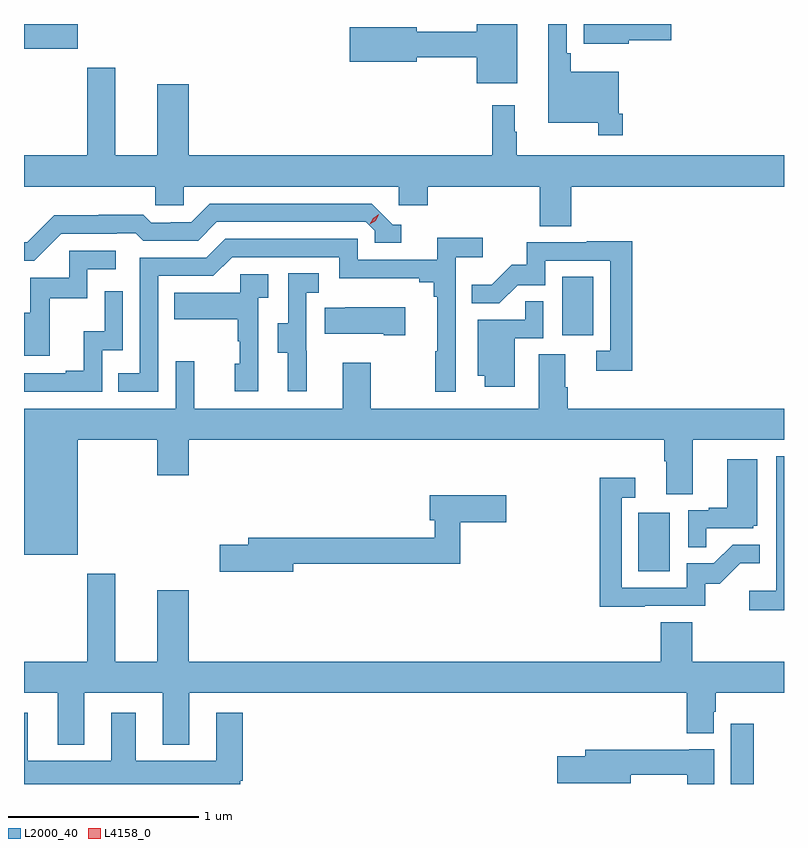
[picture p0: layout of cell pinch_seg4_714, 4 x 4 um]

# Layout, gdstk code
import gdstk
lib = gdstk.Library(unit=1e-6, precision=1e-09)
def R(c, l, rs):  # rectangles x0, y0, x1, y1
    for r in rs: c.add(gdstk.rectangle(r[:2], r[2:], *l))
def P(c, l, *ps):  # polygons
    for p in ps: c.add(gdstk.Polygon(p, *l))
L2000_40 = (2000, 40)
L4158_0 = (4158, 0)

pinch_seg4_714 = lib.new_cell('pinch_seg4_714')
R(pinch_seg4_714, L2000_40, [(839.354,822.98,839.476,823.297), (838.868,824.1,839.032,824.407), (838.466,825.342,838.63,825.649), (835.634,826.85,835.918,826.98)])
P(pinch_seg4_714, L2000_40, [(838.231,826.98),(838.016,826.98),(838.016,826.94),(837.7,826.94),(837.7,826.964),(837.348,826.964),(837.348,826.781),(837.7,826.781),(837.7,826.804),(838.016,826.804),(838.016,826.667),(838.231,826.667)],
  [(838.784,826.507),(838.764,826.507),(838.764,826.729),(838.511,826.729),(838.511,826.825),(838.491,826.825),(838.491,826.98),(838.394,826.98),(838.394,826.46),(838.656,826.46),(838.656,826.395),(838.784,826.395)],
  [(838.816,826.895),(839.041,826.895),(839.041,826.98),(838.58,826.98),(838.58,826.877),(838.816,826.877)],
  [(838.514,826.124),(839.634,826.124),(839.634,826.288),(838.228,826.288),(838.228,826.412),(838.216,826.412),(838.216,826.552),(838.099,826.552),(838.099,826.288),(836.5,826.288),(836.5,826.663),(836.336,826.663),(836.336,826.288),(836.113,826.288),(836.113,826.75),(835.966,826.75),(835.966,826.288),(835.634,826.288),(835.634,826.124),(836.325,826.124),(836.325,826.026),(836.475,826.026),(836.475,826.124),(837.606,826.124),(837.606,826.026),(837.758,826.026),(837.758,826.124),(838.349,826.124),(838.349,825.916),(838.514,825.916)],
  [(835.83,825.876),(836.123,825.876),(836.123,825.879),(836.222,825.879),(836.261,825.84),(836.55,825.84),(836.649,825.939),(837.432,825.939),(837.48,825.891),(837.48,825.828),(837.619,825.828),(837.619,825.924),(837.576,825.924),(837.465,826.035),(836.612,826.035),(836.513,825.936),(836.406,825.936),(836.406,825.933),(836.303,825.933),(836.261,825.976),(836.028,825.976),(836.028,825.973),(835.792,825.973),(835.65,825.831),(835.634,825.831),(835.634,825.735),(835.689,825.735)],
  [(836.34,825.654),(836.631,825.654),(836.73,825.753),(837.294,825.753),(837.294,825.641),(837.713,825.641),(837.713,825.622),(837.79,825.622),(837.79,825.545),(837.809,825.545),(837.809,825.257),(837.798,825.257),(837.798,825.045),(837.906,825.045),(837.906,825.752),(838.048,825.752),(838.048,825.854),(837.809,825.854),(837.809,825.738),(837.39,825.738),(837.39,825.849),(836.693,825.849),(836.594,825.75),(836.244,825.75),(836.244,825.141),(836.131,825.141),(836.131,825.045),(836.34,825.045)],
  [(838.835,825.836),(838.597,825.836),(838.597,825.831),(838.279,825.831),(838.279,825.714),(838.202,825.714),(838.095,825.607),(837.991,825.607),(837.991,825.509),(838.135,825.509),(838.232,825.606),(838.377,825.606),(838.377,825.735),(838.719,825.735),(838.719,825.261),(838.647,825.261),(838.647,825.156),(838.835,825.156)],
  [(835.769,825.537),(835.968,825.537),(835.968,825.69),(836.116,825.69),(836.116,825.786),(835.872,825.786),(835.872,825.645),(835.667,825.645),(835.667,825.459),(835.634,825.459),(835.634,825.234),(835.769,825.234)],
  [(837.122,825.261),(837.12,825.261),(837.12,825.565),(837.184,825.565),(837.184,825.668),(837.024,825.668),(837.024,825.405),(836.969,825.405),(836.969,825.25),(837.023,825.25),(837.023,825.048),(837.122,825.048)],
  [(836.868,825.539),(836.92,825.539),(836.92,825.663),(836.772,825.663),(836.772,825.565),(836.425,825.565),(836.425,825.425),(836.76,825.425),(836.76,825.311),(836.77,825.311),(836.77,825.192),(836.744,825.192),(836.744,825.048),(836.868,825.048)],
  [(836.046,825.264),(836.154,825.264),(836.154,825.574),(836.058,825.574),(836.058,825.362),(835.949,825.362),(835.949,825.154),(835.853,825.154),(835.853,825.141),(835.634,825.141),(835.634,825.045),(836.046,825.045)],
  [(838.216,825.327),(838.368,825.327),(838.368,825.521),(838.273,825.521),(838.273,825.423),(838.022,825.423),(838.022,825.128),(838.058,825.128),(838.058,825.072),(838.216,825.072)],
  [(837.64,825.49),(837.325,825.49),(837.325,825.487),(837.217,825.487),(837.217,825.35),(837.527,825.35),(837.527,825.343),(837.64,825.343)],
  [(835.918,824.792),(836.336,824.792),(836.336,824.604),(836.5,824.604),(836.5,824.792),(839.003,824.792),(839.003,824.68),(839.015,824.68),(839.015,824.506),(839.155,824.506),(839.155,824.792),(839.634,824.792),(839.634,824.956),(838.496,824.956),(838.496,825.068),(838.483,825.068),(838.483,825.242),(838.343,825.242),(838.343,824.956),(837.459,824.956),(837.459,825.196),(837.311,825.196),(837.311,824.956),(836.531,824.956),(836.531,825.205),(836.433,825.205),(836.433,824.956),(835.634,824.956),(835.634,824.186),(835.918,824.186)],
  [(839.634,824.704),(839.592,824.704),(839.592,823.996),(839.451,823.996),(839.451,823.894),(839.634,823.894)],
  [(839.225,824.325),(839.472,824.325),(839.472,824.34),(839.494,824.34),(839.494,824.689),(839.336,824.689),(839.336,824.434),(839.237,824.434),(839.237,824.421),(839.13,824.421),(839.13,824.227),(839.225,824.227)],
  [(838.901,823.917),(839.22,823.917),(839.22,824.034),(839.296,824.034),(839.403,824.141),(839.507,824.141),(839.507,824.24),(839.363,824.24),(839.265,824.142),(839.121,824.142),(839.121,824.013),(838.779,824.013),(838.779,824.487),(838.852,824.487),(838.852,824.593),(838.663,824.593),(838.663,823.912),(838.901,823.912)],
  [(837.052,824.14),(837.929,824.14),(837.929,824.357),(838.171,824.357),(838.171,824.499),(837.77,824.499),(837.77,824.369),(837.797,824.369),(837.797,824.276),(836.813,824.276),(836.813,824.24),(836.664,824.24),(836.664,824.098),(837.052,824.098)],
  [(835.951,823.46),(836.363,823.46),(836.363,823.187),(836.503,823.187),(836.503,823.46),(839.123,823.46),(839.123,823.247),(839.263,823.247),(839.263,823.359),(839.276,823.359),(839.276,823.46),(839.634,823.46),(839.634,823.624),(839.15,823.624),(839.15,823.832),(838.985,823.832),(838.985,823.624),(836.5,823.624),(836.5,823.999),(836.336,823.999),(836.336,823.624),(836.113,823.624),(836.113,824.086),(835.966,824.086),(835.966,823.624),(835.634,823.624),(835.634,823.46),(835.811,823.46),(835.811,823.187),(835.951,823.187)],
  [(836.773,822.998),(836.786,822.998),(836.786,823.354),(836.645,823.354),(836.645,823.102),(836.221,823.102),(836.221,823.354),(836.093,823.354),(836.093,823.102),(835.654,823.102),(835.654,823.354),(835.634,823.354),(835.634,822.98),(836.773,822.98)],
  [(839.266,823.162),(839.136,823.162),(839.136,823.159),(838.589,823.159),(838.589,823.125),(838.44,823.125),(838.44,822.983),(838.828,822.983),(838.828,823.03),(839.125,823.03),(839.125,822.98),(839.266,822.98)])
P(pinch_seg4_714, L4158_0, [(837.455,825.926),(837.455,825.926),(837.471,825.958),(837.502,825.978),(837.502,825.978),(837.502,825.978),(837.486,825.945),(837.455,825.926)])

lib.write_gds('pinch_seg4_714.gds')
